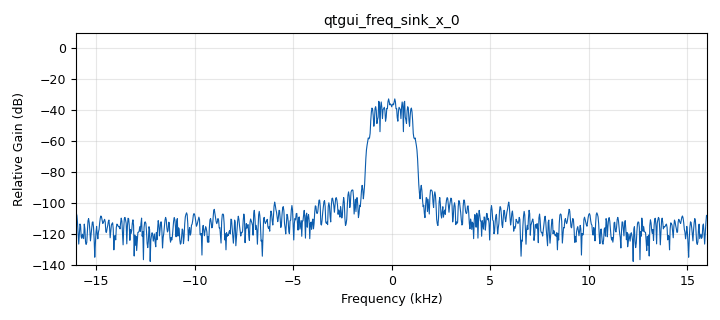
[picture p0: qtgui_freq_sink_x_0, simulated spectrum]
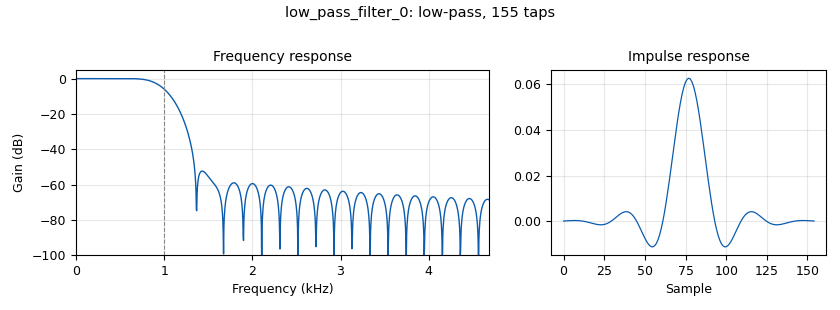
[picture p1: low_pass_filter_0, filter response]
options:
  parameters:
    author: Dhrubjun
    generate_options: qt_gui
    id: exp4
    output_language: python
    title: Noise Power vs Bandwidth
  states: {}

blocks:
- name: avg_len
  id: variable
  parameters:
    value: '10000'
  states: {}
- name: cutoff
  id: variable_qtgui_range
  parameters:
    label: LPF Cutoff Frequency
    start: '500'
    step: '500'
    stop: '4000'
    value: '1000'
  states: {}
- name: samp_rate
  id: variable
  parameters:
    value: '32000'
  states: {}
- name: analog_noise_source_x_0
  id: analog_noise_source_x
  parameters:
    amp: '1'
    noise_type: analog.GR_GAUSSIAN
    seed: '0'
    type: float
  states: {}
- name: blocks_moving_average_xx_0
  id: blocks_moving_average_xx
  parameters:
    length: avg_len
    max_iter: '4000'
    scale: 1/avg_len
    type: float
  states: {}
- name: blocks_moving_average_xx_0_0
  id: blocks_moving_average_xx
  parameters:
    length: avg_len
    max_iter: '4000'
    scale: 1/avg_len
    type: float
  states: {}
- name: blocks_multiply_xx_0
  id: blocks_multiply_xx
  parameters:
    type: float
  states: {}
- name: blocks_multiply_xx_0_0
  id: blocks_multiply_xx
  parameters:
    type: float
  states: {}
- name: blocks_throttle2_0
  id: blocks_throttle2
  parameters:
    samples_per_second: samp_rate
    type: float
  states: {}
- name: filtered_noise_power
  id: qtgui_number_sink
  parameters:
    graph_type: qtgui.NUM_GRAPH_HORIZ
    name: Filtered Noise Power
    type: float
  states: {}
- name: input_noise_power
  id: qtgui_number_sink
  parameters:
    graph_type: qtgui.NUM_GRAPH_HORIZ
    name: Input Noise Power
    type: float
  states: {}
- name: low_pass_filter_0
  id: low_pass_filter
  parameters:
    cutoff_freq: cutoff
    decim: '1'
    gain: '1'
    samp_rate: samp_rate
    type: fir_filter_fff
    width: '500'
    win: window.WIN_HAMMING
  states: {}
- name: qtgui_freq_sink_x_0
  id: qtgui_freq_sink_x
  parameters:
    bw: samp_rate
    fc: '0'
    fftsize: '1024'
    grid: 'True'
    type: float
  states: {}

connections:
- [analog_noise_source_x_0, '0', blocks_throttle2_0, '0']
- [blocks_moving_average_xx_0, '0', filtered_noise_power, '0']
- [blocks_moving_average_xx_0_0, '0', input_noise_power, '0']
- [blocks_multiply_xx_0, '0', blocks_moving_average_xx_0, '0']
- [blocks_multiply_xx_0_0, '0', blocks_moving_average_xx_0_0, '0']
- [blocks_throttle2_0, '0', blocks_multiply_xx_0_0, '0']
- [blocks_throttle2_0, '0', blocks_multiply_xx_0_0, '1']
- [blocks_throttle2_0, '0', low_pass_filter_0, '0']
- [low_pass_filter_0, '0', blocks_multiply_xx_0, '0']
- [low_pass_filter_0, '0', blocks_multiply_xx_0, '1']
- [low_pass_filter_0, '0', qtgui_freq_sink_x_0, '0']

metadata:
  file_format: 1
  grc_version: 3.10.12.0
